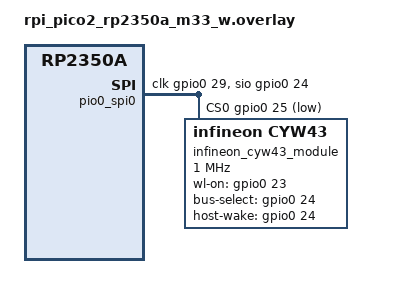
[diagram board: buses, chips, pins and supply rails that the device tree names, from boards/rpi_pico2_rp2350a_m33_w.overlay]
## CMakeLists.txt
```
# SPDX-License-Identifier: Apache-2.0

cmake_minimum_required(VERSION 3.20.0)
set(EXTRA_CONF_FILE local.conf)
find_package(Zephyr REQUIRED HINTS $ENV{ZEPHYR_BASE})
project(app LANGUAGES C)

target_sources(app PRIVATE src/main.c)
target_sources_ifdef(CONFIG_APP_BLE_PERIPHERAL app PRIVATE src/ble_peripheral.c)
```

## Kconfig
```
config WIFI_SSID
	string "WIFI SSID - Network name"
	default ""

config WIFI_PSK
	string "WIFI PSK - Network password key"
	default ""

config APP_WIFI_AUTOCONNECT
	bool "Auto-connect to WIFI_SSID at boot"
	default y
	help
	  When set, main() associates to CONFIG_WIFI_SSID at boot. Disable to bring
	  the radio up without a WiFi association (e.g. a BT-only product, or to
	  exercise the BT-then-WiFi / BT-only init orders).

config APP_BLE_PERIPHERAL
	bool "Self-starting BLE notify peripheral (for the coex soak)"
	default n
	depends on BT_PERIPHERAL
	help
	  Start a connectable BLE peripheral at boot with one notify
	  characteristic that streams a counter once subscribed. Used by the
	  WiFi+BLE coexistence soak (test/coex). Off by default so the reference
	  app stays lean (BT via shell).

config APP_BLE_NOTIFY_INTERVAL_MS
	int "BLE notify interval (ms)"
	default 100
	depends on APP_BLE_PERIPHERAL

menu "Zephyr"
source "Kconfig.zephyr"
endmenu

module = wifi-example-app
module-str = Example App for Pico W wifi
```

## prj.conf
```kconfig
#
# Copyright (c) 2023 Beechwoods Software
#
# SPDX-License-Identifier: Apache-2.0
#
CONFIG_REBOOT=y

CONFIG_MAIN_STACK_SIZE=2048
CONFIG_LOG_PROCESS_THREAD_STACK_SIZE=1024
CONFIG_NET_MGMT_EVENT_STACK_SIZE=2048
CONFIG_SHELL_STACK_SIZE=2560

CONFIG_NET_SOCKETS_SERVICE_STACK_SIZE=3072

CONFIG_NET_LOG=y
#CONFIG_NET_IF_LOG_LEVEL_DBG=y
#CONFIG_NET_PKT_LOG_LEVEL_DBG=y
#CONFIG_WIFI_LOG_LEVEL_DBG=y
#CONFIG_NET_CAPTURE_LOG_LEVEL_DBG=y
#CONFIG_DNS_RESOLVER_LOG_LEVEL_DBG=y
#CONFIG_NET_DHCPV4_LOG_LEVEL_DBG=y
#CONFIG_NET_DHCPV4_SERVER_LOG_LEVEL_DBG=y
#CONFIG_BT_HCI_DRIVER_LOG_LEVEL_DBG=y

CONFIG_POSIX_API=y

CONFIG_WIFI=y
CONFIG_WIFI_ZEPHYR_CYW43=y
CONFIG_WIFI_ESP32=n
CONFIG_CYW43439=n
CONFIG_WIFI_AIROC=n

CONFIG_UART_CONSOLE_DEBUG_SERVER_HOOKS=n

CONFIG_WIFI_ZEPHYR_CYW43_SHELL=y

CONFIG_ENTROPY_GENERATOR=y
CONFIG_TEST_RANDOM_GENERATOR=y

CONFIG_NETWORKING=y
CONFIG_NET_L2_ETHERNET=y
CONFIG_INIT_STACKS=y
CONFIG_NET_STATISTICS=y
CONFIG_NET_STATISTICS_WIFI=y
CONFIG_NET_STATISTICS_USER_API=y

CONFIG_NET_SHELL=y
CONFIG_NET_CONFIG_SETTINGS=y
CONFIG_NET_CONFIG_INIT_TIMEOUT=60
CONFIG_NET_CONFIG_AUTO_INIT=n
CONFIG_NET_L2_WIFI_SHELL=y

CONFIG_NET_UDP=y
CONFIG_NET_TCP=y

CONFIG_NET_MGMT=y
CONFIG_NET_MGMT_EVENT=y
CONFIG_WIFI_MGMT_RAW_SCAN_RESULTS=y
CONFIG_NET_MGMT_EVENT_MONITOR=y

CONFIG_NET_IPV6=n
CONFIG_NET_IPV4=y
CONFIG_CYW43_WIFI_STA_AUTO_DHCPV4=y
CONFIG_CYW43_WIFI_AP_AUTO_DHCPV4=y
CONFIG_CYW43_WIFI_AP_AUTO_DHCPV4_ADDRESS="192.168.10.1"
CONFIG_CYW43_WIFI_AP_AUTO_DHCPV4_NETMASK="255.255.255.0"


CONFIG_DNS_RESOLVER=y
#CONFIG_DNS_RESOLVER_ADDITIONAL_BUF_CTR=5
#CONFIG_DNS_RESOLVER_ADDITIONAL_QUERIES=2
#CONFIG_MDNS_RESOLVER=y
#CONFIG_DNS_SERVER_IP_ADDRESSES=y
#CONFIG_DNS_SERVER1="8.8.8.8"

# Powersave parameters
CONFIG_WIFI_ZEPHYR_CYW43_POWERSAVE_MODE=0
CONFIG_WIFI_ZEPHYR_CYW43_POWERSAVE_PM2_SLEEP_RET_MS=20
CONFIG_WIFI_ZEPHYR_CYW43_POWERSAVE_LI_BEACON_PERIOD=1
CONFIG_WIFI_ZEPHYR_CYW43_POWERSAVE_LI_DTIM_PERIOD=1
CONFIG_WIFI_ZEPHYR_CYW43_POWERSAVE_LI_ASSOC=10

#Bluetooth - Comment the items below out if you only want wifi
CONFIG_BT=y
CONFIG_BT_SHELL=y
CONFIG_BT_DEVICE_NAME="test-picow-bluetooth"
# In-scope coexistence is BLE Central AND Peripheral. These select BT_CONN,
# which CONFIG_BT_MAX_CONN depends on (without them BT_MAX_CONN is a no-op and
# the Kconfig-warning-as-error build aborts).
CONFIG_BT_PERIPHERAL=y
CONFIG_BT_CENTRAL=y
CONFIG_BT_MAX_CONN=16
CONFIG_BT_ID_MAX=2
```

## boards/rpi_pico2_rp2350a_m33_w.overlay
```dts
/*
 * Pico 2 W (rp2350a/m33/w) — georgerobotics cyw43_ll WiFi+BT topology (default).
 *
 * The upstream board DTS defines, under &pio0, a `pio0_spi0` PIO-SPI
 * controller whose child is an "infineon,airoc-wifi" node (the upstream
 * AIROC/WHD driver path) plus an "infineon,cyw43-gpio" child. This module's
 * georgerobotics stack binds an "infineon,cyw43" node instead, so we delete
 * the upstream pio0_spi0 subtree (removing airoc-wifi@0 and the duplicate
 * cyw43-gpio) and recreate pio0_spi0 with our own module node. The parent
 * keeps the "raspberrypi,pico-spi-pio" compatible; cyw43_bus_pio_spi.c talks
 * to the CYW43 via spi_transceive_dt() (CONFIG_SPI_RPI_PICO_PIO).
 *
 * NB: devicetree overlays are preprocessed BEFORE Kconfig is finalized, so
 * CONFIG_* symbols are NOT visible here — this file cannot be made
 * transport-conditional. The WHD backend instead layers test/coex/whd.overlay
 * on top of this one (it re-deletes pio0_spi0 and restores the stock
 * infineon,airoc-wifi node). This file is the georgerobotics default, applied
 * automatically as the board overlay.
 */

/ {
	chosen {
		zephyr,bt_hci = &cyw43_bt_hci;
	};
};

/delete-node/ &pio0_spi0;

&pio0 {
	status = "okay";

	pio0_spi0: pio0_spi0 {
		compatible = "raspberrypi,pico-spi-pio";
		clocks = <&clocks RPI_PICO_CLKID_CLK_SYS>;
		#address-cells = <1>;
		#size-cells = <0>;
		cs-gpios = <&gpio0 25 GPIO_ACTIVE_LOW>;
		clk-gpios = <&gpio0 29 GPIO_ACTIVE_HIGH>;
		sio-gpios = <&gpio0 24 GPIO_ACTIVE_HIGH>;
		pinctrl-0 = <&pio0_spi0_default>;
		pinctrl-names = "default";
		status = "okay";

		infineon_cyw43_module: infineon_cyw43_module@0 {
			compatible = "infineon,cyw43";
			reg = <0x0>;
			clocks = <&clocks RPI_PICO_CLKID_CLK_SYS>;

			spi-max-frequency = <1000000>;

			wl-on-gpios = <&gpio0 23 GPIO_ACTIVE_HIGH>;
			bus-select-gpios = <&gpio0 24 GPIO_ACTIVE_HIGH>;
			host-wake-gpios = <&gpio0 24 GPIO_ACTIVE_HIGH>;

			pinctrl-0 = <&airoc_wifi_default>;
			pinctrl-1 = <&airoc_wifi_host_wake>;
			pinctrl-names = "default", "host_wake";

			status = "okay";

			cyw43_led: cyw43_led { /* Pico W LED is on CYW43439 GPIO 0 */
				compatible = "infineon,cyw43-led";
			};

			cyw43_gpio: cyw43_gpio {
				compatible = "infineon,cyw43-gpio";
				gpio-controller;
				#gpio-cells = <2>;
				ngpios = <3>;
			};

			cyw43_bt_hci: cyw43_bt_hci {
				compatible = "infineon,cyw43-bt-hci";
			};
		};
	};
};
```

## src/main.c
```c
/*
 * Copyright (c) 2023 Beechwoods Software
 *
 * SPDX-License-Identifier: Apache-2.0
 */

#include <stdio.h>
#include <unistd.h>
#include <zephyr/kernel.h>
#include <zephyr/net/wifi_mgmt.h>
#include <zephyr/net/net_if.h>
#include <zephyr/net/net_config.h>

#if defined(CONFIG_APP_BLE_PERIPHERAL)
void app_ble_peripheral_start(void);
#endif

void wifi_connect(char *ssid, char * passwd) {
    int ret;
    
    struct net_if *iface = net_if_get_default();
    printf("Default interface is %s\n", iface->if_dev->dev->name);
    static struct wifi_connect_req_params req_params = {
        .channel = 0,
        .security = WIFI_SECURITY_TYPE_PSK,
    };
    req_params.ssid = ssid;
    req_params.ssid_length = strlen(ssid);
    req_params.psk = passwd;
    req_params.psk_length = strlen(passwd);
    printf("\n\ncalling net_mgmt(NET_REQUEST_WIFI_CONNECT)\n");
    ret = net_mgmt(NET_REQUEST_WIFI_CONNECT, iface, &req_params, sizeof(struct wifi_connect_req_params));
    printf("%d Finished calling net_mgmt(NET_REQUEST_WIFI_SCAN)\n", ret);
}

int main(void)
{
	/* NET_CONFIG_SETTINGS will init DHCP
	 * NET_SHELL is enabled to test driver and network stack
	 */

  if (!IS_ENABLED(CONFIG_APP_WIFI_AUTOCONNECT)) {
    printf("WiFi auto-connect disabled (CONFIG_APP_WIFI_AUTOCONNECT=n);"
           " radio is up, no association. Use 'wifi connect' to associate.\n");
  }
  else if (strcmp(CONFIG_WIFI_SSID, "") && strcmp(CONFIG_WIFI_PSK, "")) {
    sleep(1);
    printf("Connecting to network \"%s\"\n", CONFIG_WIFI_SSID);
    wifi_connect(CONFIG_WIFI_SSID, CONFIG_WIFI_PSK);
  }
  else {
    printf("To configure wifi, either:\n");
    printf("\n");
    printf("  1. Run 'wifi connect -s <SSID> -p <PSK> -k <security type... probably 1>' on the command line.\n");
    printf("\n");
    printf("                        - or -\n");
    printf("\n");
    printf("  2. Define CONFIG_WIFI_SSID and CONFIG_WIFI_PSK in local.conf and rebuild.\n");
    printf("\n");
  }
  (void)net_config_init_app(NULL, "Initializing network");

#if defined(CONFIG_APP_BLE_PERIPHERAL)
  app_ble_peripheral_start();
#endif
  return 0;
}
```

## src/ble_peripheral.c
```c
/*
 * Copyright (c) 2026 Beechwoods Software
 * SPDX-License-Identifier: Apache-2.0
 *
 * Minimal connectable BLE peripheral with a notify characteristic, for the
 * WiFi+BLE coexistence soak (test/coex). Self-starts at boot when
 * CONFIG_APP_BLE_PERIPHERAL=y: enables BT, registers a vendor GATT service with
 * one notify characteristic, advertises (legacy; this controller has no
 * extended advertising), and once a central subscribes streams a monotonically
 * increasing 32-bit counter every CONFIG_APP_BLE_NOTIFY_INTERVAL_MS so the host
 * can measure notification latency / detect stalls and disconnects.
 */

#include <zephyr/kernel.h>
#include <zephyr/sys/byteorder.h>
#include <zephyr/bluetooth/bluetooth.h>
#include <zephyr/bluetooth/conn.h>
#include <zephyr/bluetooth/gatt.h>
#include <zephyr/bluetooth/uuid.h>
#include <zephyr/logging/log.h>

LOG_MODULE_REGISTER(ble_peripheral, LOG_LEVEL_INF);

/* Vendor service / characteristic UUIDs (random 128-bit). */
static struct bt_uuid_128 coex_svc_uuid = BT_UUID_INIT_128(
	BT_UUID_128_ENCODE(0x6e400001, 0xc0e0, 0x4001, 0xb000, 0x000000000001));
static struct bt_uuid_128 coex_notify_uuid = BT_UUID_INIT_128(
	BT_UUID_128_ENCODE(0x6e400002, 0xc0e0, 0x4001, 0xb000, 0x000000000002));

static volatile bool notify_enabled;
static uint32_t notify_counter;

static void coex_ccc_changed(const struct bt_gatt_attr *attr, uint16_t value)
{
	notify_enabled = (value == BT_GATT_CCC_NOTIFY);
	LOG_INF("notifications %s", notify_enabled ? "enabled" : "disabled");
}

BT_GATT_SERVICE_DEFINE(coex_svc,
	BT_GATT_PRIMARY_SERVICE(&coex_svc_uuid),
	BT_GATT_CHARACTERISTIC(&coex_notify_uuid.uuid,
			       BT_GATT_CHRC_NOTIFY,
			       BT_GATT_PERM_NONE, NULL, NULL, NULL),
	BT_GATT_CCC(coex_ccc_changed,
		    BT_GATT_PERM_READ | BT_GATT_PERM_WRITE),
);

static const struct bt_data ad[] = {
	BT_DATA_BYTES(BT_DATA_FLAGS, (BT_LE_AD_GENERAL | BT_LE_AD_NO_BREDR)),
	BT_DATA(BT_DATA_NAME_COMPLETE, CONFIG_BT_DEVICE_NAME,
		sizeof(CONFIG_BT_DEVICE_NAME) - 1),
};

static void connected(struct bt_conn *conn, uint8_t err)
{
	if (err) {
		LOG_WRN("connection failed (err 0x%02x)", err);
	} else {
		LOG_INF("connected");
	}
}

static void disconnected(struct bt_conn *conn, uint8_t reason)
{
	LOG_INF("disconnected (reason 0x%02x)", reason);
	notify_enabled = false;
	/* Legacy advertising; restart so the central can reconnect. */
	bt_le_adv_start(BT_LE_ADV_CONN_FAST_1, ad, ARRAY_SIZE(ad), NULL, 0);
}

BT_CONN_CB_DEFINE(conn_callbacks) = {
	.connected = connected,
	.disconnected = disconnected,
};

static void notify_thread(void *p1, void *p2, void *p3)
{
	ARG_UNUSED(p1);
	ARG_UNUSED(p2);
	ARG_UNUSED(p3);

	while (1) {
		k_msleep(CONFIG_APP_BLE_NOTIFY_INTERVAL_MS);
		if (!notify_enabled) {
			continue;
		}
		uint32_t v = sys_cpu_to_le32(notify_counter);

		/* attrs[2] is the characteristic value (svc, chrc-decl, value, ccc). */
		int rv = bt_gatt_notify(NULL, &coex_svc.attrs[2], &v, sizeof(v));

		if (rv == 0) {
			notify_counter++;
		} else if (rv != -ENOTCONN) {
			LOG_WRN("bt_gatt_notify rv %d", rv);
		}
	}
}

K_THREAD_DEFINE(coex_notify_tid, 1024, notify_thread, NULL, NULL, NULL,
		7, 0, -1);

void app_ble_peripheral_start(void)
{
	int err = bt_enable(NULL);

	if (err) {
		LOG_ERR("bt_enable failed (err %d)", err);
		return;
	}
	LOG_INF("Bluetooth initialized; starting advertising as \"%s\"",
		CONFIG_BT_DEVICE_NAME);

	err = bt_le_adv_start(BT_LE_ADV_CONN_FAST_1, ad, ARRAY_SIZE(ad), NULL, 0);
	if (err) {
		LOG_ERR("advertising start failed (err %d)", err);
		return;
	}

	k_thread_start(coex_notify_tid);
}
```
